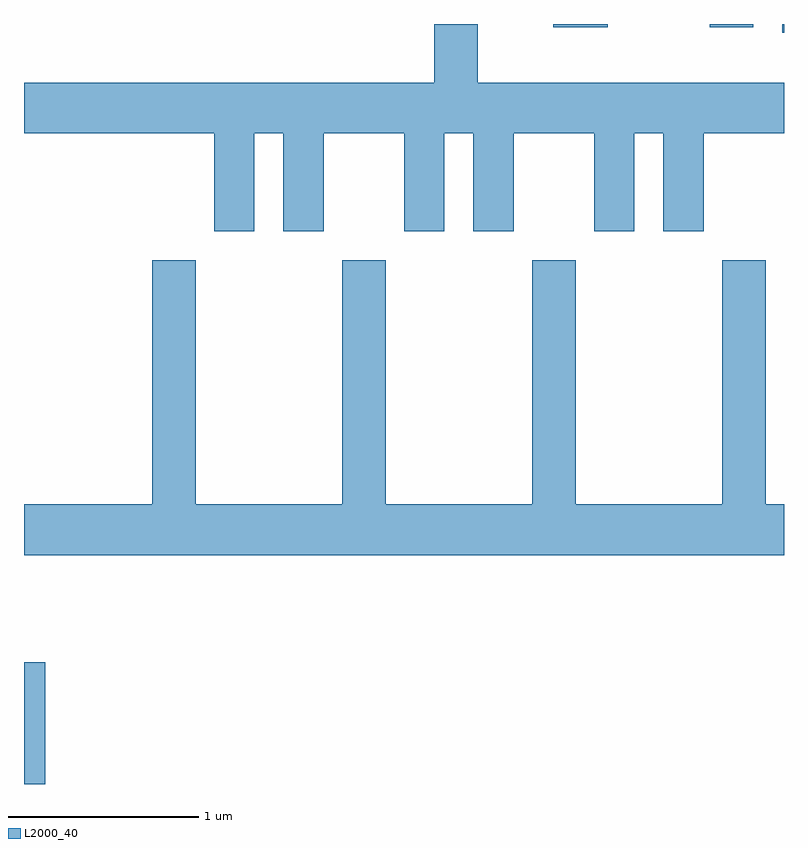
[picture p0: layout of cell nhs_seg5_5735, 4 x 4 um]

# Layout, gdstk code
import gdstk
lib = gdstk.Library(unit=1e-6, precision=1e-09)
def R(c, l, rs):  # rectangles x0, y0, x1, y1
    for r in rs: c.add(gdstk.rectangle(r[:2], r[2:], *l))
def P(c, l, *ps):  # polygons
    for p in ps: c.add(gdstk.Polygon(p, *l))
L2000_40 = (2000, 40)

nhs_seg5_5735 = lib.new_cell('nhs_seg5_5735')
R(nhs_seg5_5735, L2000_40, [(355.611,1420.072,355.724,1420.714), (359.603,1424.026,359.611,1424.072), (358.396,1424.056,358.684,1424.072), (359.221,1424.056,359.449,1424.072)])
P(nhs_seg5_5735, L2000_40, [(356.824,1423.496),(356.976,1423.496),(356.976,1422.981),(357.189,1422.981),(357.189,1423.496),(357.611,1423.496),(357.611,1422.981),(357.824,1422.981),(357.824,1423.496),(357.976,1423.496),(357.976,1422.981),(358.189,1422.981),(358.189,1423.496),(358.611,1423.496),(358.611,1422.981),(358.824,1422.981),(358.824,1423.496),(358.976,1423.496),(358.976,1422.981),(359.189,1422.981),(359.189,1423.496),(359.611,1423.496),(359.611,1423.764),(357.999,1423.764),(357.999,1424.072),(357.771,1424.072),(357.771,1423.764),(355.611,1423.764),(355.611,1423.496),(356.611,1423.496),(356.611,1422.981),(356.824,1422.981)],
  [(359.611,1421.544),(359.514,1421.544),(359.514,1422.829),(359.286,1422.829),(359.286,1421.544),(358.514,1421.544),(358.514,1422.829),(358.286,1422.829),(358.286,1421.544),(357.514,1421.544),(357.514,1422.829),(357.286,1422.829),(357.286,1421.544),(356.514,1421.544),(356.514,1422.829),(356.286,1422.829),(356.286,1421.544),(355.611,1421.544),(355.611,1421.276),(359.611,1421.276)])

lib.write_gds('nhs_seg5_5735.gds')
